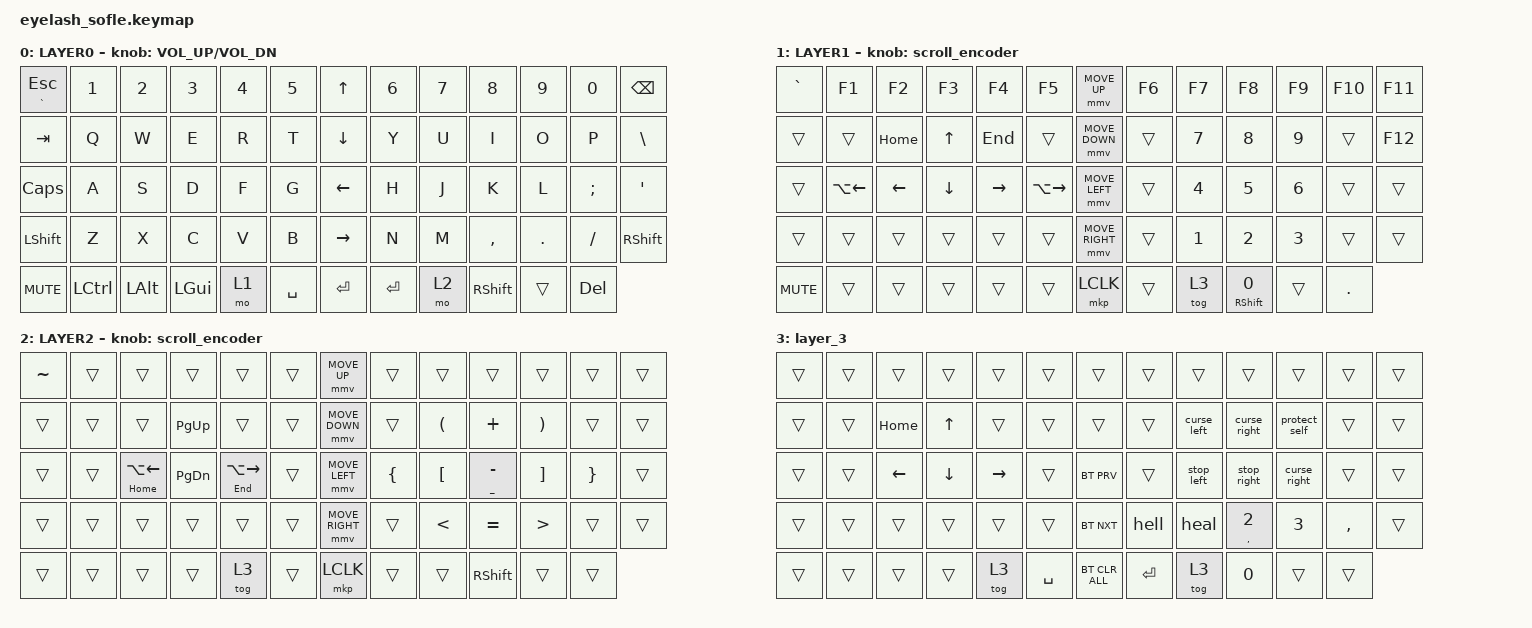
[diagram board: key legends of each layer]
#define ZMK_POINTING_DEFAULT_MOVE_VAL 1200  // 600
#define ZMK_POINTING_DEFAULT_SCRL_VAL 25   // 10

#include <input/processors.dtsi>
#include <zephyr/dt-bindings/input/input-event-codes.h>
#include <behaviors.dtsi>
#include <dt-bindings/zmk/bt.h>
#include <dt-bindings/zmk/keys.h>
#include <dt-bindings/zmk/pointing.h>

&mmv_input_listener { input-processors = <&zip_xy_scaler 2 1>; };

&msc_input_listener { input-processors = <&zip_scroll_scaler 2 1>; };

&msc {
    acceleration-exponent = <1>;      // 0
    time-to-max-speed-ms = <100>;       // 300
    delay-ms = <0>;                   // 0
};

&mmv {
    time-to-max-speed-ms = <500>;
    acceleration-exponent = <1>;
    trigger-period-ms = <16>;
};

&mt {
    flavor = "balanced";
    tapping-term-ms = <280>;
    quick-tap-ms = <175>;
    require-prior-idle-ms = <150>;
    hold-trigger-on-release;
    hold-trigger-key-positions = <14 15 16 17 18 27 28 29 30 31 40 41 42 43 44 20 21 22 23 24 33 34 35 36 37 46 47 48 49 50>;
};

/ {
    scroll_encoder: scroll_encoder {
        compatible = "zmk,behavior-sensor-rotate";
        #sensor-binding-cells = <0>;
        bindings = <&msc SCRL_DOWN>, <&msc SCRL_UP>;

        tap-ms = <100>;
    };

    hml: hml {
        compatible = "zmk,behavior-hold-tap";
        label = "HML";
        bindings = <&kp>, <&kp>;

        #binding-cells = <2>;
        tapping-term-ms = <280>;
        quick-tap-ms = <175>;
        require-prior-idle-ms = <150>;
        flavor = "balanced";
        hold-trigger-key-positions = <20 21 22 23 24 33 34 35 37 36 46 47 48 49 50 53 54 55 56 57 59 60 61 62 63 7 8 9 10 11>;
        hold-trigger-on-release;
    };

    hmr: hmr {
        compatible = "zmk,behavior-hold-tap";
        label = "HMR";
        bindings = <&kp>, <&kp>;

        #binding-cells = <2>;
        tapping-term-ms = <280>;
        quick-tap-ms = <175>;
        require-prior-idle-ms = <150>;
        flavor = "balanced";
        hold-trigger-key-positions = <14 15 16 17 18 31 44 43 42 41 40 27 28 29 30 53 54 55 56 57 59 60 61 62 63 1 2 3 4 5>;
        hold-trigger-on-release;
    };

    behaviors {
    };

    combos {
        compatible = "zmk,combos";

        VscodeTerminal {
            bindings = <&kp LC(GRAVE)>;
            key-positions = <53 0>;
            layers = <0>;
        };

        SwitchSameApp {
            bindings = <&kp LG(GRAVE)>;
            key-positions = <55 0>;
            layers = <0>;
        };
    };

    macros {
        stop_right: stopall {
            compatible = "zmk,behavior-macro";
            #binding-cells = <0>;
            bindings = <&kp NUMBER_4 &kp RIGHT_ARROW &kp ENTER>;
            label = "STOPALL";
        };

        curse_left: curseall {
            compatible = "zmk,behavior-macro";
            #binding-cells = <0>;
            bindings = <&kp NUMBER_5 &kp LEFT_ARROW &kp ENTER>;
            label = "CURSEALL";
        };

        hell: hell {
            compatible = "zmk,behavior-macro";
            #binding-cells = <0>;
            bindings =
                <&macro_press>,
                <&kp LEFT_SHIFT>,
                <&macro_tap>,
                <&kp Z>,
                <&macro_release>,
                <&kp LEFT_SHIFT>,
                <&macro_tap>,
                <&kp Q>;

            label = "HELL";
            tap-ms = <130>;
        };

        stop_left: stop_left {
            compatible = "zmk,behavior-macro";
            #binding-cells = <0>;
            bindings = <&kp NUMBER_4 &kp LEFT &kp ENTER>;
            label = "STOP_LEFT";
        };

        curse_right: curse_right {
            compatible = "zmk,behavior-macro";
            #binding-cells = <0>;
            bindings = <&kp NUMBER_5 &kp RIGHT &kp ENTER>;
            label = "CURSE_RIGHT";
        };

        protect_self: protect_self {
            compatible = "zmk,behavior-macro";
            #binding-cells = <0>;
            bindings = <&kp NUMBER_8 &kp HOME &kp ENTER &kp NUMBER_9 &kp ENTER>;
            label = "PROTECT_SELF";
        };

        heal: heal {
            compatible = "zmk,behavior-macro";
            #binding-cells = <0>;
            bindings = <&kp NUMBER_1 &kp HOME &kp ENTER>;
            label = "HEAL";
        };
    };

    keymap {
        compatible = "zmk,keymap";

        layer0 {
            bindings = <
&mt GRAVE ESC  &kp N1     &kp N2    &kp N3    &kp N4  &kp N5       &kp UP_ARROW     &kp N6   &kp N7  &kp N8     &kp N9   &kp N0      &kp BACKSPACE
&kp TAB        &kp Q      &kp W     &kp E     &kp R   &kp T        &kp DOWN_ARROW   &kp Y    &kp U   &kp I      &kp O    &kp P       &kp BSLH
&kp CAPS       &kp A      &kp S     &kp D     &kp F   &kp G        &kp LEFT_ARROW   &kp H    &kp J   &kp K      &kp L    &kp SEMI    &kp APOS
&kp LSHFT      &kp Z      &kp X     &kp C     &kp V   &kp B        &kp RIGHT_ARROW  &kp N    &kp M   &kp COMMA  &kp DOT  &kp FSLH    &kp RSHFT
&kp C_MUTE     &kp LCTRL  &kp LALT  &kp LGUI  &mo 1   &kp SPACE    &kp ENTER        &kp RET  &mo 2   &kp RSHFT  &trans   &kp DELETE
            >;

            sensor-bindings = <&inc_dec_kp C_VOLUME_UP C_VOL_DN>;
            display-name = "LAYER0";
        };

        layer_1 {
            bindings = <
&kp GRAVE   &kp F1              &kp F2    &kp F3    &kp F4     &kp F5                 &mmv MOVE_UP     &kp F6  &kp F7  &kp F8                    &kp F9  &kp F10  &kp F11
&trans      &trans              &kp HOME  &kp UP    &kp END    &trans                 &mmv MOVE_DOWN   &trans  &kp N7  &kp N8                    &kp N9  &trans   &kp F12
&trans      &kp LA(LEFT_ARROW)  &kp LEFT  &kp DOWN  &kp RIGHT  &kp LA(RIGHT_ARROW)    &mmv MOVE_LEFT   &trans  &kp N4  &kp N5                    &kp N6  &trans   &trans
&trans      &trans              &trans    &trans    &trans     &trans                 &mmv MOVE_RIGHT  &trans  &kp N1  &kp N2                    &kp N3  &trans   &trans
&kp C_MUTE  &trans              &trans    &trans    &trans     &trans                 &mkp LCLK        &trans  &tog 3  &mt RIGHT_SHIFT NUMBER_0  &trans  &kp DOT
            >;

            display-name = "LAYER1";
            sensor-bindings = <&scroll_encoder>;
        };

        layer_2 {
            bindings = <
&kp TILDE  &trans  &trans                   &trans     &trans                   &trans    &mmv MOVE_UP     &trans          &trans                &trans                &trans                 &trans           &trans
&trans     &trans  &trans                   &kp PG_UP  &trans                   &trans    &mmv MOVE_DOWN   &trans          &kp LEFT_PARENTHESIS  &kp PLUS              &kp RIGHT_PARENTHESIS  &trans           &trans
&trans     &trans  &mt HOME LA(LEFT_ARROW)  &kp PG_DN  &mt END LA(RIGHT_ARROW)  &trans    &mmv MOVE_LEFT   &kp LEFT_BRACE  &kp LEFT_BRACKET      &mt UNDERSCORE MINUS  &kp RIGHT_BRACKET      &kp RIGHT_BRACE  &trans
&trans     &trans  &trans                   &trans     &trans                   &trans    &mmv MOVE_RIGHT  &trans          &kp LESS_THAN         &kp EQUAL             &kp GREATER_THAN       &trans           &trans
&trans     &trans  &trans                   &trans     &tog 3                   &trans    &mkp LCLK        &trans          &trans                &kp RIGHT_SHIFT       &trans                 &trans
            >;

            sensor-bindings = <&scroll_encoder>;
            label = "LAYER2";
        };

        layer_3 {
            bindings = <
&trans  &trans  &trans    &trans    &trans     &trans       &trans          &trans   &trans       &trans        &trans         &trans     &trans
&trans  &trans  &kp HOME  &kp UP    &trans     &trans       &trans          &trans   &curse_left  &curse_right  &protect_self  &trans     &trans
&trans  &trans  &kp LEFT  &kp DOWN  &kp RIGHT  &trans       &bt BT_PRV      &trans   &stop_left   &stop_right   &curse_right   &trans     &trans
&trans  &trans  &trans    &trans    &trans     &trans       &bt BT_NXT      &hell    &heal        &mt COMMA N2  &kp N3         &kp COMMA  &trans
&trans  &trans  &trans    &trans    &tog 3     &kp SPACE    &bt BT_CLR_ALL  &kp RET  &tog 3       &kp N0        &trans         &trans
            >;
        };
    };
};
